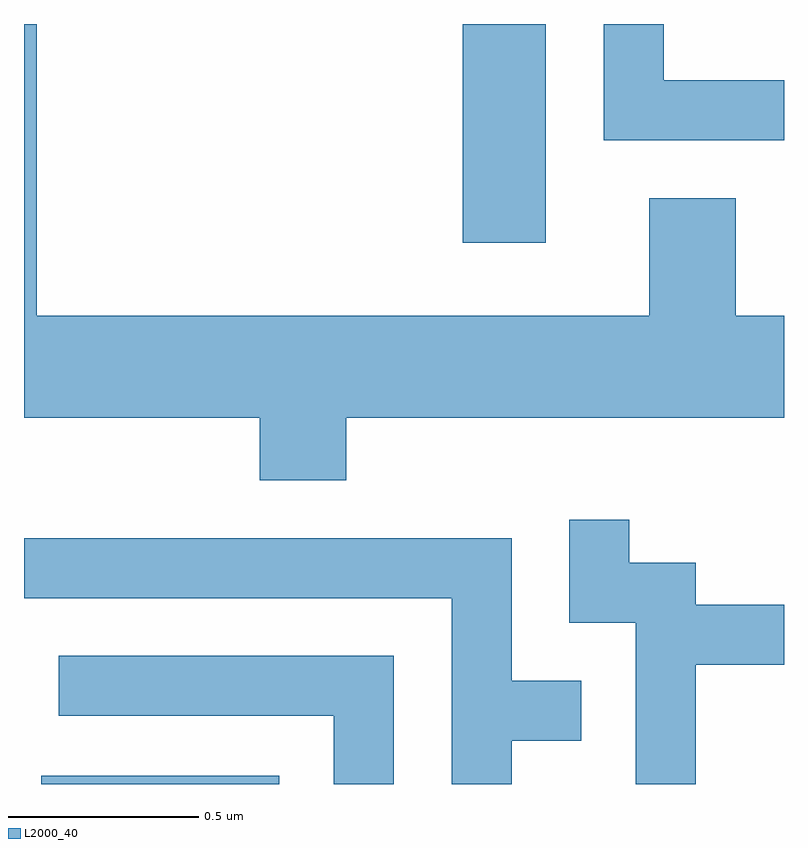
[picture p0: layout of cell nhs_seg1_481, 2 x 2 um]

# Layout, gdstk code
import gdstk
lib = gdstk.Library(unit=1e-6, precision=1e-09)
def R(c, l, rs):  # rectangles x0, y0, x1, y1
    for r in rs: c.add(gdstk.rectangle(r[:2], r[2:], *l))
def P(c, l, *ps):  # polygons
    for p in ps: c.add(gdstk.Polygon(p, *l))
L2000_40 = (2000, 40)

nhs_seg1_481 = lib.new_cell('nhs_seg1_481')
R(nhs_seg1_481, L2000_40, [(188.656,909.712,189.283,909.734), (189.766,911.136,189.984,911.712)])
P(nhs_seg1_481, L2000_40, [(189.459,910.676),(190.611,910.676),(190.611,910.944),(190.484,910.944),(190.484,911.254),(190.256,911.254),(190.256,910.944),(188.644,910.944),(188.644,911.712),(188.611,911.712),(188.611,910.676),(189.231,910.676),(189.231,910.511),(189.459,910.511)],
  [(190.611,911.564),(190.294,911.564),(190.294,911.712),(190.136,911.712),(190.136,911.406),(190.611,911.406)],
  [(190.379,910.026),(190.611,910.026),(190.611,910.184),(190.379,910.184),(190.379,910.294),(190.204,910.294),(190.204,910.408),(190.046,910.408),(190.046,910.136),(190.221,910.136),(190.221,909.712),(190.379,909.712)],
  [(189.894,909.826),(190.078,909.826),(190.078,909.984),(189.894,909.984),(189.894,910.359),(188.611,910.359),(188.611,910.201),(189.736,910.201),(189.736,909.712),(189.894,909.712)],
  [(189.584,910.049),(188.703,910.049),(188.703,909.891),(189.426,909.891),(189.426,909.712),(189.584,909.712)])

lib.write_gds('nhs_seg1_481.gds')
